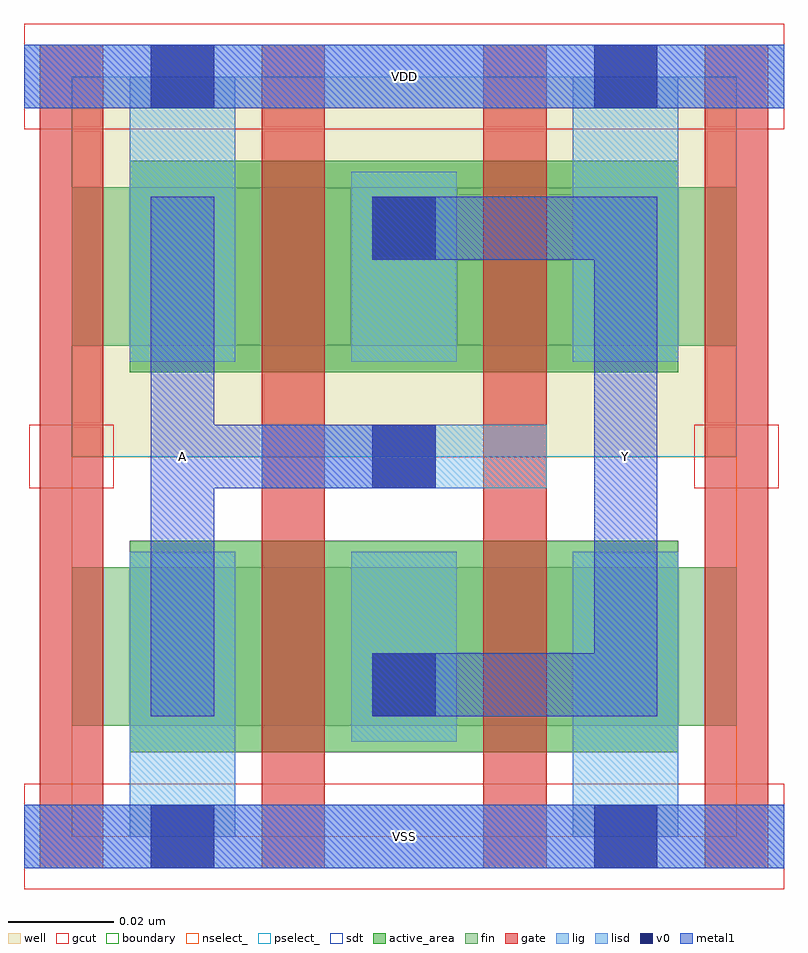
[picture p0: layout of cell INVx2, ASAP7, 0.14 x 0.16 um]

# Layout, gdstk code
import gdstk
lib = gdstk.Library(unit=1e-6, precision=2.5e-10)
def R(c, l, rs):  # rectangles x0, y0, x1, y1
    for r in rs: c.add(gdstk.rectangle(r[:2], r[2:], *l))
def A(c, l, x, y, w, h, nx, ny, dx, dy):  # array of equal rectangles
    R(c, l, [(x+i*dx, y+j*dy, x+i*dx+w, y+j*dy+h) for i in range(nx) for j in range(ny)])
def P(c, l, *ps):  # polygons
    for p in ps: c.add(gdstk.Polygon(p, *l))
well = (1, 0)
fin = (2, 0)
gate = (7, 0)
gcut = (10, 0)
active_area = (11, 0)
nselect_ = (12, 0)
pselect_ = (13, 0)
lig = (16, 0)
lisd = (17, 0)
v0 = (18, 0)
metal1 = (19, 0)
sdt = (88, 0)
boundary = (100, 0)

invx2 = lib.new_cell('INVx2')
R(invx2, well, [(0,0.072,0.126,0.144)])
R(invx2, fin, [(0,0.021,0.126,0.051), (0,0.093,0.126,0.123)])
A(invx2, gate, -0.006, -0.006, 0.012, 0.156, 4, 1, 0.042, 0)
R(invx2, gcut, [(-0.009,-0.01,0.135,0.01), (-0.008,0.066,0.008,0.078), (0.118,0.066,0.134,0.078), (-0.009,0.134,0.135,0.154)])
R(invx2, active_area, [(0.011,0.016,0.115,0.056), (0.011,0.088,0.115,0.128)])
R(invx2, nselect_, [(0,0,0.126,0.072)])
R(invx2, pselect_, [(0,0.072,0.126,0.144)])
R(invx2, lig, [(-0.009,-0.006,0.135,0.006), (0.036,0.066,0.09,0.078), (-0.009,0.138,0.135,0.15)])
R(invx2, lisd, [(0.011,0,0.031,0.054), (0.095,0,0.115,0.054), (0.053,0.018,0.073,0.054), (0.011,0.09,0.031,0.144), (0.053,0.09,0.073,0.126), (0.095,0.09,0.115,0.144)])
A(invx2, v0, 0.057, 0.0227, 0.012, 0.012, 1, 3, 0, 0.0433)
R(invx2, v0, [(0.015,-0.006,0.027,0.006), (0.099,-0.006,0.111,0.006), (0.015,0.138,0.027,0.15), (0.099,0.138,0.111,0.15)])
R(invx2, metal1, [(-0.009,-0.006,0.135,0.006), (-0.009,0.138,0.135,0.15)])
P(invx2, metal1, [(0.057,0.1212),(0.111,0.1212),(0.111,0.0227),(0.057,0.0227),(0.057,0.0348),(0.099,0.0348),(0.099,0.1092),(0.057,0.1092)],
  [(0.015,0.1212),(0.027,0.1212),(0.027,0.078),(0.069,0.078),(0.069,0.066),(0.027,0.066),(0.027,0.0227),(0.015,0.0227)])
A(invx2, sdt, 0.011, 0.021, 0.02, 0.03, 3, 2, 0.042, 0.072)
R(invx2, boundary, [(0,0,0.126,0.144)])
invx2.add(gdstk.Label('Y', (0.105,0.072), layer=19, texttype=251))
invx2.add(gdstk.Label('A', (0.021,0.072), layer=19, texttype=251))
invx2.add(gdstk.Label('VSS', (0.063,0), layer=19, texttype=251))
invx2.add(gdstk.Label('VDD', (0.063,0.144), layer=19, texttype=251))

lib.write_gds('INVx2.gds')
